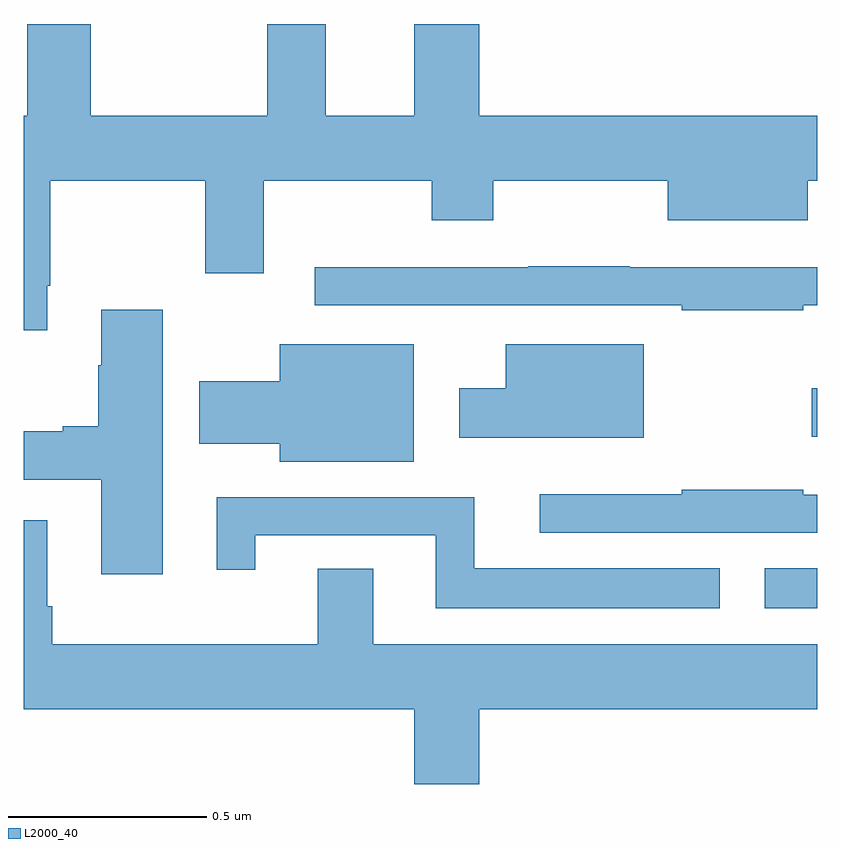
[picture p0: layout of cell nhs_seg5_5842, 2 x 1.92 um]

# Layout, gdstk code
import gdstk
lib = gdstk.Library(unit=1e-6, precision=1e-09)
def R(c, l, rs):  # rectangles x0, y0, x1, y1
    for r in rs: c.add(gdstk.rectangle(r[:2], r[2:], *l))
def P(c, l, *ps):  # polygons
    for p in ps: c.add(gdstk.Polygon(p, *l))
L2000_40 = (2000, 40)

nhs_seg5_5842 = lib.new_cell('nhs_seg5_5842')
R(nhs_seg5_5842, L2000_40, [(189.867,878.327,190,878.428), (189.986,878.759,190,878.881)])
P(nhs_seg5_5842, L2000_40, [(188.059,879.139),(188.067,879.139),(188.067,879.404),(188.458,879.404),(188.458,879.171),(188.605,879.171),(188.605,879.404),(189.028,879.404),(189.028,879.305),(189.183,879.305),(189.183,879.404),(189.623,879.404),(189.623,879.305),(189.976,879.305),(189.976,879.404),(190,879.404),(190,879.568),(189.148,879.568),(189.148,879.799),(188.984,879.799),(188.984,879.568),(188.761,879.568),(188.761,879.799),(188.614,879.799),(188.614,879.568),(188.169,879.568),(188.169,879.799),(188.009,879.799),(188.009,879.568),(188,879.568),(188,879.027),(188.059,879.027)],
  [(189.965,879.09),(190,879.09),(190,879.186),(189.527,879.186),(189.527,879.188),(189.271,879.188),(189.271,879.186),(188.733,879.186),(188.733,879.09),(189.658,879.09),(189.658,879.078),(189.965,879.078)],
  [(188.35,879.079),(188.195,879.079),(188.195,878.939),(188.188,878.939),(188.188,878.786),(188.099,878.786),(188.099,878.773),(188,878.773),(188,878.651),(188.195,878.651),(188.195,878.412),(188.35,878.412)],
  [(188.983,878.992),(188.645,878.992),(188.645,878.899),(188.442,878.899),(188.442,878.741),(188.645,878.741),(188.645,878.696),(188.983,878.696)],
  [(189.562,878.992),(189.215,878.992),(189.215,878.881),(189.098,878.881),(189.098,878.756),(189.562,878.756)],
  [(190,878.613),(189.965,878.613),(189.965,878.626),(189.658,878.626),(189.658,878.614),(189.3,878.614),(189.3,878.517),(190,878.517)],
  [(189.754,878.428),(189.136,878.428),(189.136,878.607),(188.486,878.607),(188.486,878.424),(188.584,878.424),(188.584,878.511),(189.038,878.511),(189.038,878.327),(189.754,878.327)],
  [(189.148,878.072),(190,878.072),(190,878.236),(188.881,878.236),(188.881,878.426),(188.741,878.426),(188.741,878.236),(188.072,878.236),(188.072,878.332),(188.059,878.332),(188.059,878.548),(188,878.548),(188,878.072),(188.984,878.072),(188.984,877.884),(189.148,877.884)])

lib.write_gds('nhs_seg5_5842.gds')
